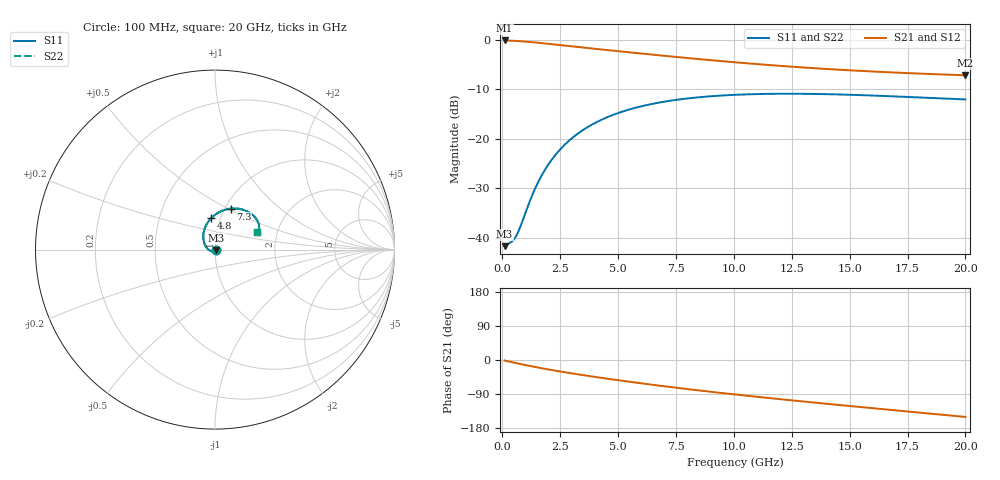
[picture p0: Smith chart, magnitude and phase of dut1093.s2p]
! Touchstone file exported from HFSS 2024.1.0
!  File:  C:/UserFiles/LocalFiles/RDL_TSV_Batchsim/temp_RDL_TSV_1093_1780098586.aedt
!  Generated:  08:01:16 AM May 30, 2026
!  Design:  RDL_TSV
!  Project:  temp_RDL_TSV_1093_1780098586
!  Setup:  Setup1
!  Solution:  Sweep
! Variables:
!  dtsv = 9.47um
!  hbump = 3um
!  htsv = 66.43um
!  ldown = 499.14um
!  lrdl = 162.7um
!  p = 40
!  p1 = 53.1um
!  rhole = 10um
!  subl = 2148.22um
!  t = 450um
!  tdown = 3.79um
!  trdl = 3.77um
!  viad = 10um
!  wdown = 28.22um
!  wrdl = 29.74um
!  xbump = 18um
# GHz S MA R 50.000000
! Terminal data exported
! Port[1] = TM1_1_T1
! Port[2] = TM1_4_T1
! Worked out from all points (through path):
!   200 points, 100 MHz to 20 GHz, reference 50 ohm
!   highest |S21| = -0.08 dB at 100 MHz (marker M1); lowest = -7.1 dB at 20 GHz (marker M2)
!   group delay of S21, straight-line fit = 19.7 ps
!   lowest |S11| = -41.7 dB at 100 MHz (marker M3), VSWR 1.02, Z = 50.8 - j0.152 ohm
!   |S11| at or under -10 dB: start of sweep to end of sweep
!   |S22| runs from -41.7 to -10.9 dB; largest |S21 - S12| = 3e-14
!   S11 on the Smith chart (normalised r, x): 100 MHz: 1.02, -0.00; 4.8 GHz: 0.90, +0.32; 7.3 GHz: 1.06, +0.52; 20 GHz: 1.56, +0.32
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0.1  0.008217 -10.5  0.9914 -1.4  0.9914 -1.4  0.008217 -10.5
! Gamma 0 0 0 0
! Port Impedance 50 0 50 0
0.4  0.0091 -53.8  0.9861 -5.5  0.9861 -5.5  0.009099 -53.8
0.6  0.01042 -87.2  0.9808 -8.2  0.9808 -8.2  0.01042 -87.2
0.8  0.01332 -117.1  0.9741 -10.8  0.9741 -10.8  0.01332 -117.2
1.2  0.02383 -158.0  0.9573 -15.9  0.9573 -15.9  0.02384 -158.0
1.4  0.0308 -171.7  0.9476 -18.3  0.9476 -18.3  0.03081 -171.7
1.7  0.04263 172.4  0.9322 -21.7  0.9322 -21.7  0.04265 172.4
2  0.05556 159.8  0.9162 -25.1  0.9162 -25.1  0.05559 159.8
2.3  0.06911 149.4  0.9003 -28.3  0.9003 -28.3  0.06915 149.4
2.7  0.08755 137.7  0.8793 -32.3  0.8793 -32.3  0.08761 137.7
3.5  0.1237 119.2  0.8395 -40.0  0.8395 -40.0  0.1238 119.2
4.1  0.149 108.1  0.8116 -45.5  0.8116 -45.5  0.1491 108.1
4.8  0.1757 97.2  0.7806 -51.6  0.7806 -51.6  0.1758 97.2
5.7  0.2051 85.5  0.7431 -59.1  0.7431 -59.1  0.2053 85.5
6.8  0.2338 73.7  0.7005 -67.8  0.7005 -67.8  0.234 73.7
7.3  0.2444 69.0  0.6823 -71.6  0.6823 -71.6  0.2445 69.1
8.7  0.2666 57.8  0.6354 -81.8  0.6354 -81.8  0.2668 57.9
10.1  0.2797 48.8  0.5945 -91.3  0.5945 -91.3  0.2798 48.8
11.7  0.286 40.5  0.555 -101.5  0.555 -101.5  0.2862 40.6
13.4  0.2853 33.6  0.5207 -111.9  0.5207 -111.9  0.2855 33.7
16.7  0.2707 25.2  0.4722 -131.3  0.4722 -131.3  0.2708 25.3
20  0.2509 22.7  0.4408 -150.3  0.4408 -150.3  0.2509 22.8
